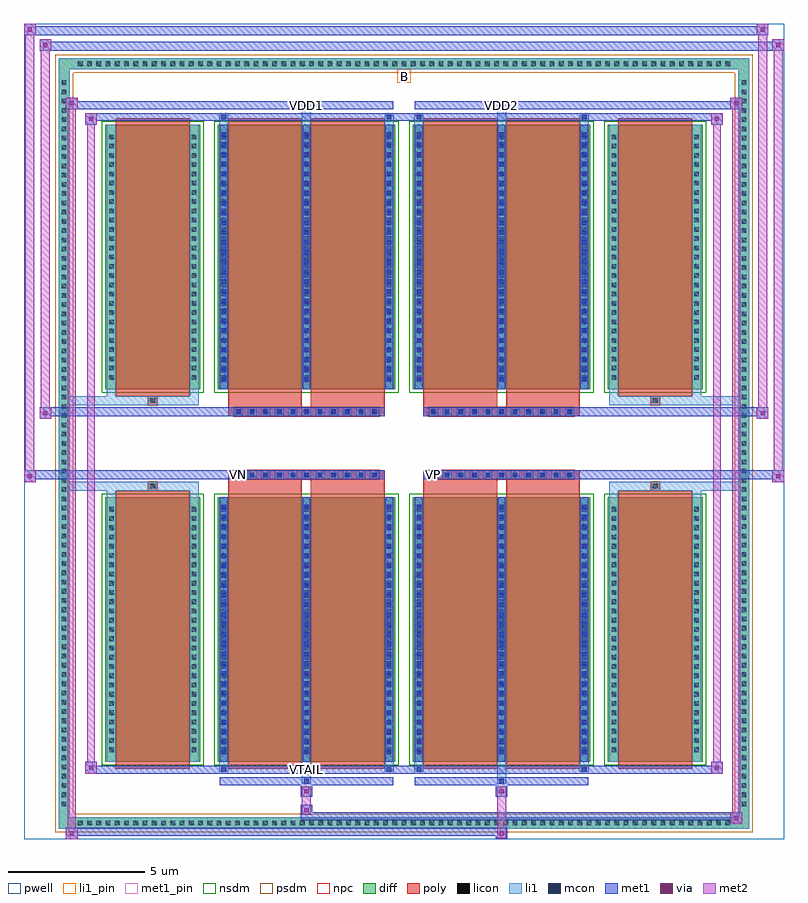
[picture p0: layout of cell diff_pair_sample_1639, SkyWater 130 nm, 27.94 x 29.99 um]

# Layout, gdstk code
import gdstk
lib = gdstk.Library(unit=1e-6, precision=5e-09)
def R(c, l, rs):  # rectangles x0, y0, x1, y1
    for r in rs: c.add(gdstk.rectangle(r[:2], r[2:], *l))
def A(c, l, x, y, w, h, nx, ny, dx, dy):  # array of equal rectangles
    R(c, l, [(x+i*dx, y+j*dy, x+i*dx+w, y+j*dy+h) for i in range(nx) for j in range(ny)])
def P(c, l, *ps):  # polygons
    for p in ps: c.add(gdstk.Polygon(p, *l))
pwell = (64, 44)
diff = (65, 20)
poly = (66, 20)
licon = (66, 44)
li1_pin = (67, 16)
li1 = (67, 20)
mcon = (67, 44)
met1_pin = (68, 16)
met1 = (68, 20)
via = (68, 44)
met2 = (69, 20)
nsdm = (93, 44)
psdm = (94, 20)
npc = (95, 20)

diff_pair_sample_1639 = lib.new_cell('diff_pair_sample_1639')
R(diff_pair_sample_1639, pwell, [(-13.97,-14.56,13.97,15.43), (-11.29,-12.75,-0.01,-0.795), (0.01,-12.75,11.29,-0.795), (-11.29,0.795,-0.01,12.75), (0.01,0.795,11.29,12.75)])
A(diff_pair_sample_1639, diff, -12.105, -14.16, 0.41, 0.41, 71, 2, 0.34, 27.91)
A(diff_pair_sample_1639, diff, -12.7, -13.465, 0.41, 0.41, 1, 79, 0, 0.34)
A(diff_pair_sample_1639, diff, 12.29, -13.465, 0.41, 0.41, 1, 79, 0, 0.34)
R(diff_pair_sample_1639, diff, [(-12.105,-14.16,12.105,-13.75), (-12.7,-13.465,-12.29,13.465), (12.29,-13.465,12.7,13.465), (-10.98,-11.705,-7.49,-1.985), (-6.85,-11.705,-0.32,-1.985), (0.32,-11.705,6.85,-1.985), (7.49,-11.705,10.98,-1.985), (-10.98,1.985,-7.49,11.705), (-6.85,1.985,-0.32,11.705), (0.32,1.985,6.85,11.705), (7.49,1.985,10.98,11.705), (-12.105,13.75,12.105,14.16)])
P(diff_pair_sample_1639, diff, [(12.7,14.16),(-12.7,14.16),(-12.7,-13.75),(-12.29,-13.75),(-12.29,13.75),(12.29,13.75),(12.29,-13.75),(-12.29,-13.75),(-12.7,-13.75),(-12.7,-14.16),(12.7,-14.16)])
A(diff_pair_sample_1639, poly, -6.25, -1.325, 0.33, 0.33, 11, 2, 0.5, 2.32)
A(diff_pair_sample_1639, poly, 0.92, -1.325, 0.33, 0.33, 11, 2, 0.5, 2.32)
R(diff_pair_sample_1639, poly, [(-10.59,-11.955,-7.88,-1.735), (-6.46,-11.955,-3.75,-1.735), (-3.42,-11.955,-0.71,-1.735), (0.71,-11.955,3.42,-1.735), (3.75,-11.955,6.46,-1.735), (7.88,-11.955,10.59,-1.735), (-9.4,-1.735,-9.07,-1.405), (-9.4,-1.735,-9.07,-1.405), (-6.46,-1.735,-3.75,-1.325), (-3.42,-1.735,-0.71,-1.325), (0.71,-1.735,3.42,-1.325), (3.75,-1.735,6.46,-1.325), (9.07,-1.735,9.4,-1.405), (9.07,-1.735,9.4,-1.405), (-6.46,-1.325,-0.71,-0.995), (0.71,-1.325,6.46,-0.995), (-6.46,0.995,-0.71,1.325), (0.71,0.995,6.46,1.325), (-6.46,1.325,-3.75,1.735), (-3.42,1.325,-0.71,1.735), (0.71,1.325,3.42,1.735), (3.75,1.325,6.46,1.735), (-9.4,1.405,-9.07,1.735), (-9.4,1.405,-9.07,1.735), (9.07,1.405,9.4,1.735), (9.07,1.405,9.4,1.735), (-10.59,1.735,-7.88,11.955), (-6.46,1.735,-3.75,11.955), (-3.42,1.735,-0.71,11.955), (0.71,1.735,3.42,11.955), (3.75,1.735,6.46,11.955), (7.88,1.735,10.59,11.955)])
A(diff_pair_sample_1639, licon, -11.985, -14.04, 0.17, 0.17, 71, 2, 0.34, 27.91)
A(diff_pair_sample_1639, licon, -12.58, -13.345, 0.17, 0.17, 1, 79, 0, 0.34)
A(diff_pair_sample_1639, licon, 12.41, -13.345, 0.17, 0.17, 1, 79, 0, 0.34)
A(diff_pair_sample_1639, licon, -10.84, -11.35, 0.17, 0.17, 1, 27, 0, 0.34)
A(diff_pair_sample_1639, licon, -7.8, -11.35, 0.17, 0.17, 1, 27, 0, 0.34)
A(diff_pair_sample_1639, licon, -6.71, -11.35, 0.17, 0.17, 3, 27, 3.04, 0.34)
A(diff_pair_sample_1639, licon, 0.46, -11.35, 0.17, 0.17, 3, 27, 3.04, 0.34)
A(diff_pair_sample_1639, licon, 7.63, -11.35, 0.17, 0.17, 1, 27, 0, 0.34)
A(diff_pair_sample_1639, licon, 10.67, -11.35, 0.17, 0.17, 1, 27, 0, 0.34)
A(diff_pair_sample_1639, licon, -6.17, -1.245, 0.17, 0.17, 11, 2, 0.5, 2.32)
A(diff_pair_sample_1639, licon, 1, -1.245, 0.17, 0.17, 11, 2, 0.5, 2.32)
A(diff_pair_sample_1639, licon, -10.84, 2.34, 0.17, 0.17, 1, 27, 0, 0.34)
A(diff_pair_sample_1639, licon, -7.8, 2.34, 0.17, 0.17, 1, 27, 0, 0.34)
A(diff_pair_sample_1639, licon, -6.71, 2.34, 0.17, 0.17, 3, 27, 3.04, 0.34)
A(diff_pair_sample_1639, licon, 0.46, 2.34, 0.17, 0.17, 3, 27, 3.04, 0.34)
A(diff_pair_sample_1639, licon, 7.63, 2.34, 0.17, 0.17, 1, 27, 0, 0.34)
A(diff_pair_sample_1639, licon, 10.67, 2.34, 0.17, 0.17, 1, 27, 0, 0.34)
R(diff_pair_sample_1639, licon, [(-9.32,-1.655,-9.15,-1.485), (9.15,-1.655,9.32,-1.485), (-9.32,1.485,-9.15,1.655), (9.15,1.485,9.32,1.655)])
R(diff_pair_sample_1639, li1_pin, [(-0.25,13.25,0.25,13.75)])
A(diff_pair_sample_1639, li1, -12.065, -14.12, 0.33, 0.33, 71, 2, 0.34, 27.91)
A(diff_pair_sample_1639, li1, -12.66, -13.425, 0.33, 0.33, 1, 79, 0, 0.34)
A(diff_pair_sample_1639, li1, 12.33, -13.425, 0.33, 0.33, 1, 79, 0, 0.34)
A(diff_pair_sample_1639, li1, -6.79, -11.705, 0.33, 9.72, 3, 2, 3.04, 13.69)
A(diff_pair_sample_1639, li1, 0.38, -11.705, 0.33, 9.72, 3, 2, 3.04, 13.69)
A(diff_pair_sample_1639, li1, -10.92, -11.43, 0.33, 0.33, 1, 27, 0, 0.34)
A(diff_pair_sample_1639, li1, -7.88, -11.43, 0.33, 0.33, 1, 27, 0, 0.34)
A(diff_pair_sample_1639, li1, -6.79, -11.43, 0.33, 0.33, 3, 27, 3.04, 0.34)
A(diff_pair_sample_1639, li1, -6.71, -11.43, 0.17, 0.17, 3, 26, 3.04, 0.36)
A(diff_pair_sample_1639, li1, -6.71, -11.43, 0.17, 9.17, 3, 2, 3.04, 13.69)
A(diff_pair_sample_1639, li1, 0.38, -11.43, 0.33, 0.33, 3, 27, 3.04, 0.34)
A(diff_pair_sample_1639, li1, 0.46, -11.43, 0.17, 0.17, 3, 26, 3.04, 0.36)
A(diff_pair_sample_1639, li1, 0.46, -11.43, 0.17, 9.17, 3, 2, 3.04, 13.69)
A(diff_pair_sample_1639, li1, 7.55, -11.43, 0.33, 0.33, 1, 27, 0, 0.34)
A(diff_pair_sample_1639, li1, 10.59, -11.43, 0.33, 0.33, 1, 27, 0, 0.34)
A(diff_pair_sample_1639, li1, -6.25, -1.325, 0.33, 0.33, 11, 2, 0.5, 2.32)
A(diff_pair_sample_1639, li1, 0.92, -1.325, 0.33, 0.33, 11, 2, 0.5, 2.32)
A(diff_pair_sample_1639, li1, -10.92, 2.26, 0.33, 0.33, 1, 27, 0, 0.34)
A(diff_pair_sample_1639, li1, -7.88, 2.26, 0.33, 0.33, 1, 27, 0, 0.34)
A(diff_pair_sample_1639, li1, -6.79, 2.26, 0.33, 0.33, 3, 27, 3.04, 0.34)
A(diff_pair_sample_1639, li1, -6.71, 2.26, 0.17, 0.17, 3, 26, 3.04, 0.36)
A(diff_pair_sample_1639, li1, 0.38, 2.26, 0.33, 0.33, 3, 27, 3.04, 0.34)
A(diff_pair_sample_1639, li1, 0.46, 2.26, 0.17, 0.17, 3, 26, 3.04, 0.36)
A(diff_pair_sample_1639, li1, 7.55, 2.26, 0.33, 0.33, 1, 27, 0, 0.34)
A(diff_pair_sample_1639, li1, 10.59, 2.26, 0.33, 0.33, 1, 27, 0, 0.34)
R(diff_pair_sample_1639, li1, [(-12.7,-14.16,-12.29,-13.75), (-12.7,-14.16,-12.29,-13.75), (-12.29,-14.16,12.29,-13.75), (12.29,-14.16,12.7,-13.75), (12.29,-14.16,12.7,-13.75), (-12.7,-13.75,-12.29,13.75), (12.29,-13.75,12.7,13.75), (-3.75,-12.51,-3.42,-11.705), (-3.67,-12.51,-3.5,-12.34), (3.42,-12.51,3.75,-11.705), (3.5,-12.51,3.67,-12.34), (-6.79,-12.08,-6.46,-11.705), (-6.71,-12.08,-6.54,-11.91), (-0.71,-12.08,-0.38,-11.705), (-0.63,-12.08,-0.46,-11.91), (0.38,-12.08,0.71,-11.705), (0.46,-12.08,0.63,-11.91), (6.46,-12.08,6.79,-11.705), (6.54,-12.08,6.71,-11.91), (-10.92,-11.705,-10.59,-1.985), (-7.88,-11.705,-7.55,-1.985), (7.55,-11.705,7.88,-1.985), (10.59,-11.705,10.92,-1.985), (-10.92,-1.985,-10.59,-1.405), (-7.88,-1.985,-7.55,-1.405), (7.55,-1.985,7.88,-1.405), (10.59,-1.985,10.92,-1.405), (-12.7,-1.735,-9.4,-1.405), (-10.92,-1.735,-9.4,-1.405), (-9.4,-1.735,-9.07,-1.405), (-9.07,-1.735,-7.55,-1.405), (7.55,-1.735,9.07,-1.405), (9.07,-1.735,9.4,-1.405), (9.07,-1.735,12.7,-1.405), (9.4,-1.735,10.92,-1.405), (-12.7,1.405,-9.4,1.735), (-10.92,1.405,-9.4,1.735), (-10.92,1.405,-10.59,1.985), (-9.4,1.405,-9.07,1.735), (-9.07,1.405,-7.55,1.735), (-7.88,1.405,-7.55,1.985), (7.55,1.405,9.07,1.735), (7.55,1.405,7.88,1.985), (9.07,1.405,9.4,1.735), (9.07,1.405,12.7,1.735), (9.4,1.405,10.92,1.735), (10.59,1.405,10.92,1.985), (-10.92,1.985,-10.59,11.705), (-7.88,1.985,-7.55,11.705), (7.55,1.985,7.88,11.705), (10.59,1.985,10.92,11.705), (-6.79,11.705,-6.46,12.08), (-3.75,11.705,-3.42,12.51), (-0.71,11.705,-0.38,12.08), (0.38,11.705,0.71,12.08), (3.42,11.705,3.75,12.51), (6.46,11.705,6.79,12.08), (-6.71,11.91,-6.54,12.08), (-0.63,11.91,-0.46,12.08), (0.46,11.91,0.63,12.08), (6.54,11.91,6.71,12.08), (-3.67,12.34,-3.5,12.51), (3.5,12.34,3.67,12.51), (-12.7,13.75,-12.29,14.16), (-12.7,13.75,-12.29,14.16), (-12.29,13.75,12.29,14.16), (12.29,13.75,12.7,14.16), (12.29,13.75,12.7,14.16)])
A(diff_pair_sample_1639, mcon, -6.71, -11.43, 0.17, 0.17, 3, 26, 3.04, 0.36)
A(diff_pair_sample_1639, mcon, 0.46, -11.43, 0.17, 0.17, 3, 26, 3.04, 0.36)
A(diff_pair_sample_1639, mcon, -6.17, -1.245, 0.17, 0.17, 11, 2, 0.5, 2.32)
A(diff_pair_sample_1639, mcon, 1, -1.245, 0.17, 0.17, 11, 2, 0.5, 2.32)
A(diff_pair_sample_1639, mcon, -6.71, 2.26, 0.17, 0.17, 3, 26, 3.04, 0.36)
A(diff_pair_sample_1639, mcon, 0.46, 2.26, 0.17, 0.17, 3, 26, 3.04, 0.36)
R(diff_pair_sample_1639, mcon, [(-3.67,-12.51,-3.5,-12.34), (3.5,-12.51,3.67,-12.34), (-6.71,-12.08,-6.54,-11.91), (-0.63,-12.08,-0.46,-11.91), (0.46,-12.08,0.63,-11.91), (6.54,-12.08,6.71,-11.91), (-6.71,11.91,-6.54,12.08), (-0.63,11.91,-0.46,12.08), (0.46,11.91,0.63,12.08), (6.54,11.91,6.71,12.08), (-3.67,12.34,-3.5,12.51), (3.5,12.34,3.67,12.51)])
R(diff_pair_sample_1639, met1_pin, [(-3.72,-12.12,-3.45,-11.85), (-6.22,-1.285,-5.95,-1.015), (0.95,-1.285,1.22,-1.015), (-3.72,12.3,-3.45,12.57), (3.45,12.3,3.72,12.57)])
A(diff_pair_sample_1639, met1, -6.77, -11.705, 0.29, 9.72, 3, 2, 3.04, 13.69)
A(diff_pair_sample_1639, met1, 0.4, -11.705, 0.29, 9.72, 3, 2, 3.04, 13.69)
A(diff_pair_sample_1639, met1, -6.77, -11.49, 0.29, 0.29, 3, 26, 3.04, 0.36)
A(diff_pair_sample_1639, met1, 0.4, -11.49, 0.29, 0.29, 3, 26, 3.04, 0.36)
A(diff_pair_sample_1639, met1, -6.23, -1.305, 0.29, 0.29, 11, 2, 0.5, 2.32)
A(diff_pair_sample_1639, met1, 0.94, -1.305, 0.29, 0.29, 11, 2, 0.5, 2.32)
A(diff_pair_sample_1639, met1, -6.77, 2.2, 0.29, 0.29, 3, 26, 3.04, 0.36)
A(diff_pair_sample_1639, met1, 0.4, 2.2, 0.29, 0.29, 3, 26, 3.04, 0.36)
R(diff_pair_sample_1639, met1, [(-12.43,-14.56,-12,-14.13), (3.37,-14.56,3.8,-14.13), (-12.43,-14.42,3.8,-14.13), (12,-13.99,12.43,-13.56), (-3.8,-13.85,12.43,-13.56), (-3.8,-13.71,-3.37,-13.28), (-3.8,-13,-3.37,-12.57), (3.37,-13,3.8,-12.57), (-6.77,-12.57,-0.4,-12.28), (-3.73,-12.57,-3.44,-12.28), (0.4,-12.57,6.77,-12.28), (3.44,-12.57,3.73,-12.28), (-11.72,-12.14,-11.29,-11.71), (-11.72,-12.14,-6.77,-11.85), (-6.77,-12.14,-6.48,-11.85), (-6.77,-12.14,-0.4,-11.85), (-0.69,-12.14,-0.4,-11.85), (-0.4,-12.14,0.4,-11.85), (0.4,-12.14,0.69,-11.85), (0.4,-12.14,6.77,-11.85), (6.48,-12.14,6.77,-11.85), (6.77,-12.14,11.72,-11.85), (11.29,-12.14,11.72,-11.71), (-13.97,-1.425,-13.54,-0.995), (13.54,-1.425,13.97,-0.995), (-13.97,-1.325,-0.71,-0.995), (-6.46,-1.325,-0.71,-0.995), (0.71,-1.325,6.46,-0.995), (0.71,-1.325,13.97,-0.995), (-13.4,0.895,-12.97,1.325), (12.97,0.895,13.4,1.325), (-13.4,0.995,-6.46,1.325), (-6.46,0.995,-0.71,1.325), (0.71,0.995,6.46,1.325), (6.46,0.995,13.4,1.325), (-11.72,11.71,-11.29,12.14), (11.29,11.71,11.72,12.14), (-11.72,11.85,-6.77,12.14), (-6.77,11.85,-6.48,12.14), (-6.77,11.85,-0.4,12.14), (-0.69,11.85,-0.4,12.14), (-0.4,11.85,0.4,12.14), (0.4,11.85,0.69,12.14), (0.4,11.85,6.77,12.14), (6.48,11.85,6.77,12.14), (6.77,11.85,11.72,12.14), (-12.43,12.28,-12,12.71), (-12.43,12.28,-6.77,12.57), (-6.77,12.28,-0.4,12.57), (-3.73,12.28,-3.44,12.57), (0.4,12.28,6.77,12.57), (3.44,12.28,3.73,12.57), (6.77,12.28,12.43,12.57), (12,12.28,12.43,12.71), (-13.4,14.43,-12.97,14.86), (-13.4,14.43,-11.29,14.76), (-11.29,14.43,11.29,14.76), (11.29,14.43,13.97,14.76), (13.54,14.43,13.97,14.86), (-13.97,15,-13.54,15.43), (-13.97,15,-11.29,15.33), (-11.29,15,11.29,15.33), (11.29,15,13.4,15.33), (12.97,15,13.4,15.43)])
R(diff_pair_sample_1639, via, [(-12.29,-14.42,-12.14,-14.27), (3.51,-14.42,3.66,-14.27), (12.14,-13.85,12.29,-13.7), (-3.66,-13.57,-3.51,-13.42), (-3.66,-12.86,-3.51,-12.71), (3.51,-12.86,3.66,-12.71), (-11.58,-12,-11.43,-11.85), (11.43,-12,11.58,-11.85), (-13.83,-1.285,-13.68,-1.135), (13.68,-1.285,13.83,-1.135), (-13.26,1.035,-13.11,1.185), (13.11,1.035,13.26,1.185), (-11.58,11.85,-11.43,12), (11.43,11.85,11.58,12), (-12.29,12.42,-12.14,12.57), (12.14,12.42,12.29,12.57), (-13.26,14.57,-13.11,14.72), (13.68,14.57,13.83,14.72), (-13.83,15.14,-13.68,15.29), (13.11,15.14,13.26,15.29)])
R(diff_pair_sample_1639, met2, [(-12.43,-14.56,-12,-14.13), (-12.36,-14.56,-12.07,12.71), (-12.07,-14.56,-12,-14.13), (-12.38,-14.51,-12.05,-14.18), (3.42,-14.51,3.75,-14.18), (3.42,-14.18,3.75,-12.95), (12,-13.99,12.43,-13.56), (12.07,-13.99,12.36,12.71), (12.36,-13.99,12.43,-13.56), (12.05,-13.94,12.38,-13.61), (-3.75,-13.66,-3.42,-13.33), (-3.75,-13.33,-3.42,-12.95), (-3.75,-12.95,-3.42,-12.62), (3.42,-12.95,3.75,-12.62), (-11.72,-12.14,-11.29,-11.71), (-11.65,-12.14,-11.36,12.14), (-11.36,-12.14,-11.29,-11.71), (11.29,-12.14,11.72,-11.71), (11.36,-12.14,11.65,12.14), (11.65,-12.14,11.72,-11.71), (-11.67,-12.09,-11.34,-11.76), (11.34,-12.09,11.67,-11.76), (-13.97,-1.425,-13.54,-0.995), (-13.92,-1.425,-13.59,15.43), (-13.59,-1.425,-13.54,-0.995), (13.54,-1.425,13.97,-0.995), (13.59,-1.425,13.92,14.86), (13.92,-1.425,13.97,-0.995), (-13.92,-1.375,-13.59,-1.045), (13.59,-1.375,13.92,-1.045), (-13.4,0.895,-12.97,1.325), (-13.35,0.895,-13.02,14.86), (-13.02,0.895,-12.97,1.325), (12.97,0.895,13.4,1.325), (13.02,0.895,13.35,15.43), (13.35,0.895,13.4,1.325), (-13.35,0.945,-13.02,1.275), (13.02,0.945,13.35,1.275), (-11.72,11.71,-11.29,12.14), (-11.36,11.71,-11.29,12.14), (11.29,11.71,11.72,12.14), (11.65,11.71,11.72,12.14), (-11.67,11.76,-11.34,12.09), (11.34,11.76,11.67,12.09), (-12.43,12.28,-12,12.71), (-12.07,12.28,-12,12.71), (12,12.28,12.43,12.71), (12.36,12.28,12.43,12.71), (-12.38,12.33,-12.05,12.66), (12.05,12.33,12.38,12.66), (-13.4,14.43,-12.97,14.86), (-13.02,14.43,-12.97,14.86), (13.54,14.43,13.97,14.86), (13.92,14.43,13.97,14.86), (-13.35,14.48,-13.02,14.81), (13.59,14.48,13.92,14.81), (-13.97,15,-13.54,15.43), (-13.59,15,-13.54,15.43), (12.97,15,13.4,15.43), (13.35,15,13.4,15.43), (-13.92,15.05,-13.59,15.38), (13.02,15.05,13.35,15.38)])
R(diff_pair_sample_1639, nsdm, [(-11.11,-11.835,-7.36,-1.855), (-6.98,-11.835,-0.19,-1.855), (0.19,-11.835,6.98,-1.855), (7.36,-11.835,11.11,-1.855), (-11.11,1.855,-7.36,11.835), (-6.98,1.855,-0.19,11.835), (0.19,1.855,6.98,11.835), (7.36,1.855,11.11,11.835)])
P(diff_pair_sample_1639, psdm, [(12.83,14.29),(-12.83,14.29),(-12.83,-13.62),(-12.16,-13.62),(-12.16,13.62),(12.16,13.62),(12.16,-13.62),(-12.16,-13.62),(-12.83,-13.62),(-12.83,-14.29),(12.83,-14.29)])
A(diff_pair_sample_1639, npc, -6.27, -1.345, 0.37, 0.37, 11, 2, 0.5, 2.32)
A(diff_pair_sample_1639, npc, 0.9, -1.345, 0.37, 0.37, 11, 2, 0.5, 2.32)
R(diff_pair_sample_1639, npc, [(-9.42,-1.755,-9.05,-1.385), (9.05,-1.755,9.42,-1.385), (-6.27,-1.345,-5.4,-0.975), (-6.27,-1.345,-5.4,-0.975), (-5.77,-1.345,-4.9,-0.975), (-5.77,-1.345,-4.9,-0.975), (-5.27,-1.345,-4.4,-0.975), (-5.27,-1.345,-4.4,-0.975), (-4.77,-1.345,-3.9,-0.975), (-4.77,-1.345,-3.9,-0.975), (-4.27,-1.345,-3.4,-0.975), (-4.27,-1.345,-3.4,-0.975), (-3.77,-1.345,-2.9,-0.975), (-3.77,-1.345,-2.9,-0.975), (-3.27,-1.345,-2.4,-0.975), (-3.27,-1.345,-2.4,-0.975), (-2.77,-1.345,-1.9,-0.975), (-2.77,-1.345,-1.9,-0.975), (-2.27,-1.345,-1.4,-0.975), (-2.27,-1.345,-1.4,-0.975), (-1.77,-1.345,-0.9,-0.975), (-1.77,-1.345,-0.9,-0.975), (0.9,-1.345,1.77,-0.975), (0.9,-1.345,1.77,-0.975), (1.4,-1.345,2.27,-0.975), (1.4,-1.345,2.27,-0.975), (1.9,-1.345,2.77,-0.975), (1.9,-1.345,2.77,-0.975), (2.4,-1.345,3.27,-0.975), (2.4,-1.345,3.27,-0.975), (2.9,-1.345,3.77,-0.975), (2.9,-1.345,3.77,-0.975), (3.4,-1.345,4.27,-0.975), (3.4,-1.345,4.27,-0.975), (3.9,-1.345,4.77,-0.975), (3.9,-1.345,4.77,-0.975), (4.4,-1.345,5.27,-0.975), (4.4,-1.345,5.27,-0.975), (4.9,-1.345,5.77,-0.975), (4.9,-1.345,5.77,-0.975), (5.4,-1.345,6.27,-0.975), (5.4,-1.345,6.27,-0.975), (-6.27,0.975,-5.4,1.345), (-6.27,0.975,-5.4,1.345), (-5.77,0.975,-4.9,1.345), (-5.77,0.975,-4.9,1.345), (-5.27,0.975,-4.4,1.345), (-5.27,0.975,-4.4,1.345), (-4.77,0.975,-3.9,1.345), (-4.77,0.975,-3.9,1.345), (-4.27,0.975,-3.4,1.345), (-4.27,0.975,-3.4,1.345), (-3.77,0.975,-2.9,1.345), (-3.77,0.975,-2.9,1.345), (-3.27,0.975,-2.4,1.345), (-3.27,0.975,-2.4,1.345), (-2.77,0.975,-1.9,1.345), (-2.77,0.975,-1.9,1.345), (-2.27,0.975,-1.4,1.345), (-2.27,0.975,-1.4,1.345), (-1.77,0.975,-0.9,1.345), (-1.77,0.975,-0.9,1.345), (0.9,0.975,1.77,1.345), (0.9,0.975,1.77,1.345), (1.4,0.975,2.27,1.345), (1.4,0.975,2.27,1.345), (1.9,0.975,2.77,1.345), (1.9,0.975,2.77,1.345), (2.4,0.975,3.27,1.345), (2.4,0.975,3.27,1.345), (2.9,0.975,3.77,1.345), (2.9,0.975,3.77,1.345), (3.4,0.975,4.27,1.345), (3.4,0.975,4.27,1.345), (3.9,0.975,4.77,1.345), (3.9,0.975,4.77,1.345), (4.4,0.975,5.27,1.345), (4.4,0.975,5.27,1.345), (4.9,0.975,5.77,1.345), (4.9,0.975,5.77,1.345), (5.4,0.975,6.27,1.345), (5.4,0.975,6.27,1.345), (-9.42,1.385,-9.05,1.755), (9.05,1.385,9.42,1.755)])
diff_pair_sample_1639.add(gdstk.Label('VTAIL', (-3.585,-11.985), layer=68, texttype=5))
diff_pair_sample_1639.add(gdstk.Label('VN', (-6.085,-1.15), layer=68, texttype=5))
diff_pair_sample_1639.add(gdstk.Label('VP', (1.085,-1.15), layer=68, texttype=5))
diff_pair_sample_1639.add(gdstk.Label('B', (0,13.5), layer=67, texttype=5))
diff_pair_sample_1639.add(gdstk.Label('VDD2', (3.585,12.435), layer=68, texttype=5))
diff_pair_sample_1639.add(gdstk.Label('VDD1', (-3.585,12.435), layer=68, texttype=5))

lib.write_gds('diff_pair_sample_1639.gds')
